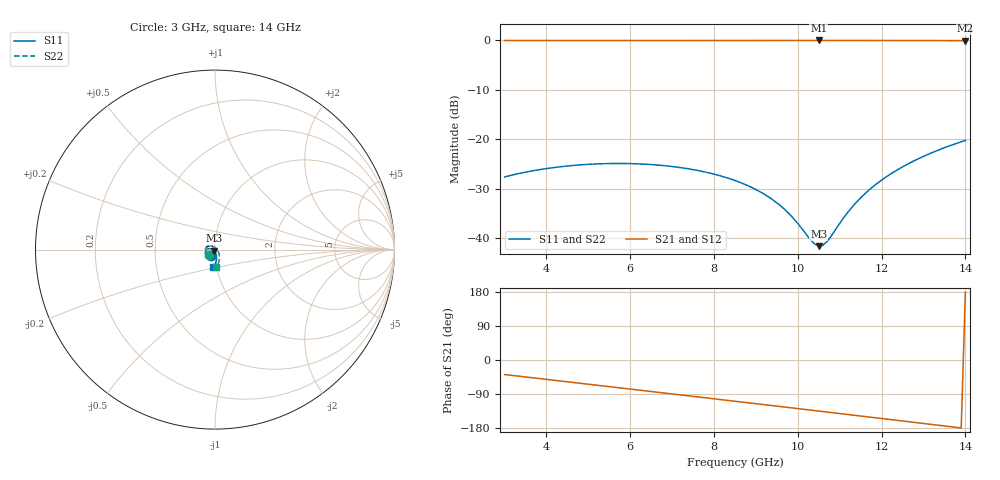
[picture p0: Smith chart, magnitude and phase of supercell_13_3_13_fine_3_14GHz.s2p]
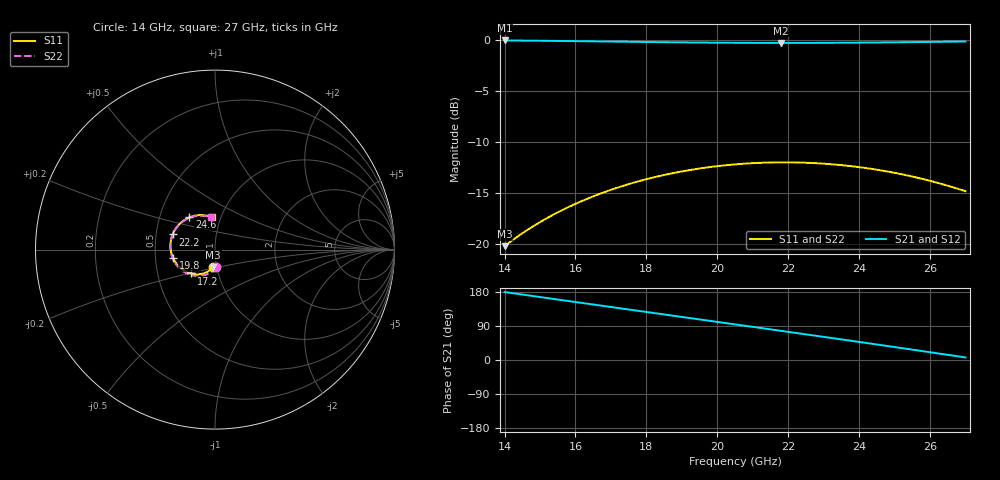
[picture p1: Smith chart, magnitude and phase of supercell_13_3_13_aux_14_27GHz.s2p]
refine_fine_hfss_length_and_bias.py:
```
#!/usr/bin/env python3
"""Refine length and bias using the fine-HFSS eight-mode model."""

from __future__ import annotations

import csv
import json
import logging
import sys
from pathlib import Path

import matplotlib

matplotlib.use("Agg")
import matplotlib.pyplot as plt
import numpy as np

ROOT = Path(__file__).resolve().parents[1]
sys.path[:0] = [str(ROOT / "code"), str(ROOT / "scripts")]

from analyze_hfss_supercell import SUPERCELL_CELLS, read_touchstone  # noqa: E402
from hfss_bloch import apply_bloch_parameters  # noqa: E402
from scan_hfss_loading_pattern import make_cell  # noqa: E402
from twpa_project_utils import gain_metrics, load_hfss_cell_parameters  # noqa: E402
from twpasolver import TWPAnalysis  # noqa: E402
from twpasolver.logger import log  # noqa: E402
from twpasolver.models import TWPA  # noqa: E402
from twpasolver.modes_rwa import ModeArrayFactory  # noqa: E402


def add_metrics(f: np.ndarray, gain: np.ndarray) -> dict[str, object]:
    result = gain_metrics(f, gain, band=(4.0, 8.0))
    result["minimum_in_band_gain_db"] = float(np.min(gain))
    result["maximum_in_band_gain_db"] = float(np.max(gain))
    result["strict_pass"] = bool(
        result["minimum_in_band_gain_db"] >= 17.0
        and result["ripple_peak_to_peak_db"] <= 3.0
    )
    return result


def score(row: dict[str, object]) -> tuple[float, ...]:
    minimum = float(row["minimum_in_band_gain_db"])
    ripple = float(row["ripple_peak_to_peak_db"])
    fraction = float(row["fraction_above_17db"])
    mean = float(row["mean_in_band_gain_db"])
    return (
        float(bool(row["strict_pass"])),
        fraction,
        -max(0.0, 17.0 - minimum),
        -max(0.0, ripple - 3.0),
        -ripple,
        -abs(mean - 22.0),
    )


def main() -> None:
    log.setLevel(logging.WARNING)
    inputs = ROOT / "hfss_inputs"
    output = ROOT / "results" / "bloch_corrected" / "step_17_length_and_bias_refinement"
    output.mkdir(parents=True, exist_ok=True)
    cells, provenance = load_hfss_cell_parameters(inputs / "hfss_cell_parameters.csv")

    f1, s1 = read_touchstone(inputs / "supercell_13_3_13_fine_3_14GHz.s2p")
    f2, s2 = read_touchstone(inputs / "supercell_13_3_13_aux_14_27GHz.s2p")
    if not np.allclose(s1[-1], s2[0], rtol=1e-10, atol=1e-12):
        raise ValueError("HFSS sweeps disagree at 14 GHz")
    measured_f = np.concatenate((f1, f2[1:]))
    measured_s = np.concatenate((s1, s2[1:]), axis=0)

    twpa = TWPA(
        cells=[
            make_cell(cells["unloaded"], 13),
            make_cell(cells["loaded"], 3),
            make_cell(cells["unloaded"], 13),
        ],
        N=1407,
        Istar=2e-3,
        Idc=400e-6,
        Ip0=280e-6,
    )
    analysis = TWPAnalysis(twpa=twpa, f_arange=(0.2, 30.0, 0.002), unit="GHz")

    def prepare(n: int, idc: float, ip: float) -> None:
        analysis.twpa.N = int(n)
        analysis.twpa.Idc = float(idc)
        analysis.twpa.Ip0 = float(ip)
        analysis.update_base_data()
        apply_bloch_parameters(
            analysis.data, measured_f, measured_s, SUPERCELL_CELLS
        )
        modes = ModeArrayFactory.create_extended_3wm(
            analysis.data,
            n_pump_harmonics=1,
            n_frequency_conversion=1,
            n_signal_harmonics=1,
        )
        analysis.add_mode_array("fine_hfss_extended", modes)

    def evaluate(n: int, idc: float, ip: float, pump: float, signals: np.ndarray):
        prepare(n, idc, ip)
        try:
            result = analysis.gain(
                signals,
                pump=float(pump),
                Is0=1.4e-6,
                Ip0=None,
                model="general",
                mode_array_config="fine_hfss_extended",
                thin=300,
                save=False,
            )
            gain = np.asarray(result["gain_db"], dtype=float)
        except Exception:
            return None
        if not np.all(np.isfinite(gain)):
            return None
        return {
            "supercell_repeats": int(n),
            "device_length_mm": float(n * 58e-3),
            "pump_GHz": float(pump),
            "Idc_A": float(idc),
            "Ip0_A": float(ip),
            **add_metrics(signals, gain),
        }, gain

    # Stage 1: isolate the length tradeoff at the best point found previously.
    coarse_signals = np.arange(4.0, 8.0001, 0.25)
    length_rows: list[dict[str, object]] = []
    for n in (500, 650, 800, 950, 1100, 1250, 1407):
        result = evaluate(n, 400e-6, 280e-6, 12.8, coarse_signals)
        if result is not None:
            length_rows.append(result[0])

    # Stage 2: local joint scan around the most promising length.
    best_length = max(length_rows, key=score)
    center_n = int(best_length["supercell_repeats"])
    n_values = sorted(set(max(350, center_n + dn) for dn in (-200, -100, 0, 100, 200)))
    rows: list[dict[str, object]] = []
    for n in n_values:
        for idc_uA in (360, 400, 440):
            for ip_uA in (240, 280, 320):
                for pump in (12.70, 12.75, 12.80, 12.85, 12.90):
                    result = evaluate(
                        n, idc_uA * 1e-6, ip_uA * 1e-6, pump, coarse_signals
                    )
                    if result is not None:
                        rows.append(result[0])
    rows.sort(key=score, reverse=True)

    with (output / "01_length_scan.csv").open("w", newline="") as handle:
        writer = csv.DictWriter(handle, fieldnames=list(length_rows[0]))
        writer.writeheader()
        writer.writerows(length_rows)
    with (output / "02_joint_coarse_scan.csv").open("w", newline="") as handle:
        writer = csv.DictWriter(handle, fieldnames=list(rows[0]))
        writer.writeheader()
        writer.writerows(rows)

    # Dense verification of the ten best coarse candidates.
    signals = np.arange(4.0, 8.0001, 0.05)
    refined: list[dict[str, object]] = []
    curves: list[np.ndarray] = []
    for candidate in rows[:10]:
        result = evaluate(
            int(candidate["supercell_repeats"]),
            float(candidate["Idc_A"]),
            float(candidate["Ip0_A"]),
            float(candidate["pump_GHz"]),
            signals,
        )
        if result is not None:
            refined.append(result[0])
            curves.append(result[1])
    order = sorted(range(len(refined)), key=lambda i: score(refined[i]), reverse=True)
    refined = [refined[i] for i in order]
    curves = [curves[i] for i in order]

    with (output / "03_dense_candidates.csv").open("w", newline="") as handle:
        writer = csv.DictWriter(handle, fieldnames=list(refined[0]))
        writer.writeheader()
        writer.writerows(refined)
    with (output / "04_dense_gain_curves.csv").open("w", newline="") as handle:
        writer = csv.writer(handle)
        writer.writerow(["signal_GHz", *[f"candidate_{i+1}_gain_dB" for i in range(len(curves))]])
        writer.writerows(zip(signals, *curves))

    best = refined[0]
    report = {
        "status": "fine_HFSS_complete_model_length_and_bias_refinement",
        "evaluated_joint_points": len(rows),
        "selected": best,
        "strict_pass": bool(best["strict_pass"]),
        "top_dense_candidates": refined,
        "interpretation": (
            "Length was varied to trade excess nonlinear gain for flatness. "
            "A strict pass requires minimum gain >=17 dB and ripple <=3 dB."
        ),
        "hfss_provenance": provenance,
    }
    (output / "05_assessment.json").write_text(json.dumps(report, indent=2) + "\n")

    fig, axes = plt.subplots(1, 2, figsize=(13, 5.4))
    ax = axes[0]
    lengths = np.array([float(row["device_length_mm"]) for row in length_rows])
    ax.plot(lengths, [float(row["minimum_in_band_gain_db"]) for row in length_rows], "o-", label="minimum gain")
    ax.plot(lengths, [float(row["maximum_in_band_gain_db"]) for row in length_rows], "o-", label="maximum gain")
    ax.axhline(17, color="k", linestyle=":", label="17 dB minimum")
    ax.set(xlabel="Active device length (mm)", ylabel="Gain (dB)", title="Length tradeoff at the initial candidate")
    ax.grid(True, alpha=0.3)
    ax.legend(fontsize=8)

    ax = axes[1]
    for index, (row, gain) in enumerate(zip(refined[:5], curves[:5]), start=1):
        ax.plot(
            signals,
            gain,
            label=(f"{index}: {row['device_length_mm']:.1f} mm, "
                   f"fp {row['pump_GHz']:.2f}, Idc {row['Idc_A']*1e6:.0f}, Ip {row['Ip0_A']*1e6:.0f} µA"),
        )
    ax.axhline(17, color="k", linestyle=":", label="17 dB minimum")
    ax.set(xlabel="Signal frequency (GHz)", ylabel="Complete-model gain (dB)", title="Best jointly refined candidates")
    ax.grid(True, alpha=0.3)
    ax.legend(fontsize=7)
    fig.tight_layout()
    fig.savefig(output / "06_length_and_bias_refinement.png", dpi=180)
    fig.savefig(output / "06_length_and_bias_refinement.pdf")
    plt.close(fig)
    print(json.dumps(report, indent=2))


if __name__ == "__main__":
    main()
```
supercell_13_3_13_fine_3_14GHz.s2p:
! Touchstone file exported from HFSS 2026.1.0
!  File:  C:/Users/urbaneja/Ansys/13-3-3_super_cell.aedt
!  Generated:  09:21:28 AM Aug 12, 2026
!  Design:  HFSSDesign_Supercell_13_3_13
!  Project:  13-3-3_super_cell
!  Setup:  Setup1
!  Solution:  Sweep_fine_3_14GHz
! Variables:
!  stub_length = 12um
# GHz S MA R 50.000000
! Terminal data exported
! Port[1] = Port1
! Port[2] = Port2
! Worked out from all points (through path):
!   111 points, 3 GHz to 14 GHz, reference 50 ohm
!   highest |S21| = 0.00 dB at 10.5 GHz (marker M1); lowest = 0.0 dB at 14 GHz (marker M2)
!   group delay of S21, straight-line fit = 35.9 ps
!   lowest |S11| = -41.6 dB at 10.5 GHz (marker M3), VSWR 1.02, Z = 49.4 - j0.544 ohm
!   |S11| at or under -10 dB: start of sweep to end of sweep
!   |S22| runs from -41.6 to -20.2 dB; largest |S21 - S12| = 5.2e-05
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3  0.04161 -118.1  0.9991 -38.4  0.9991 -38.4  0.04161 -138.6
! Gamma 1.90211625812809E-31 2682.20511504638 1.71196688575315E-31 2578.88136852733
! Port Impedance 50 0 50 0
4.4  0.05308 -138.1  0.9986 -56.3  0.9986 -56.3  0.05308 -154.4
5.8  0.05689 -156.5  0.9984 -74.2  0.9984 -74.2  0.05689 -171.9
7.3  0.05092 -174.6  0.9987 -93.4  0.9987 -93.4  0.05092 167.7
8.5  0.03824 173.2  0.9993 -108.9  0.9993 -108.9  0.03824 149.1
9.5  0.02273 169.2  0.9997 -121.8  0.9997 -121.8  0.02273 127.2
10.5  0.008282 -138.3  1 -134.8  1 -134.8  0.008282 48.7
10.7  0.009261 -110.9  1 -137.4  1 -137.4  0.009261 16.1
11.4  0.02309 -77.8  0.9997 -146.5  0.9997 -146.5  0.02309 -35.3
12  0.03862 -77.0  0.9993 -154.4  0.9993 -154.4  0.03862 -51.8
14  0.09729 -95.6  0.9952 179.3  0.9953 179.3  0.09729 -85.7
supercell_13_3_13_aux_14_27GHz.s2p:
! Touchstone file exported from HFSS 2026.1.0
!  File:  C:/Users/urbaneja/Ansys/13-3-3_super_cell.aedt
!  Generated:  09:22:44 AM Aug 12, 2026
!  Design:  HFSSDesign_Supercell_13_3_13
!  Project:  13-3-3_super_cell
!  Setup:  Setup1
!  Solution:  Sweep_aux_14_27GHz
! Variables:
!  stub_length = 12um
# GHz S MA R 50.000000
! Terminal data exported
! Port[1] = Port1
! Port[2] = Port2
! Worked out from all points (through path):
!   66 points, 14 GHz to 27 GHz, reference 50 ohm
!   highest |S21| = -0.04 dB at 14 GHz (marker M1); lowest = -0.3 dB at 21.8 GHz (marker M2)
!   group delay of S21, straight-line fit = 36.7 ps
!   lowest |S11| = -20.2 dB at 14 GHz (marker M3), VSWR 1.22, Z = 48.1 - j9.41 ohm
!   |S11| at or under -10 dB: start of sweep to end of sweep
!   |S22| runs from -20.2 to -12.0 dB; largest |S21 - S12| = 0.00016
!   S11 on the Smith chart (normalised r, x): 14 GHz: 0.96, -0.19; 17.2 GHz: 0.74, -0.20; 19.8 GHz: 0.62, -0.06; 22.2 GHz: 0.61, +0.11; 24.6 GHz: 0.71, +0.27; 27 GHz: 0.91, +0.34
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14  0.09729 -95.6  0.9952 179.3  0.9953 179.3  0.09729 -85.7
! Gamma 0 12516.9952816227 0 12034.8092072632
! Port Impedance 50 0 50 0
15.6  0.1455 -115.0  0.9894 158.2  0.9894 158.2  0.1455 -108.5
17.2  0.1889 -135.2  0.982 137.2  0.982 137.2  0.1889 -130.4
18.6  0.2194 -153.1  0.9756 118.9  0.9756 118.9  0.2194 -149.2
19.8  0.238 -168.5  0.9713 103.2  0.9713 103.2  0.238 -165.2
20.6  0.246 -178.9  0.9693 92.7  0.9693 92.7  0.246 -175.8
21.8  0.2509 165.5  0.968 76.9  0.968 76.9  0.2509 168.3
22.2  0.2506 160.3  0.9681 71.6  0.9681 71.6  0.2506 163.0
24.6  0.2294 128.5  0.9733 39.6  0.9733 39.6  0.2294 130.8
25.8  0.2078 112.2  0.9782 23.3  0.9782 23.3  0.2078 114.4
27  0.1811 95.6  0.9834 6.7  0.9835 6.7  0.1811 97.8
